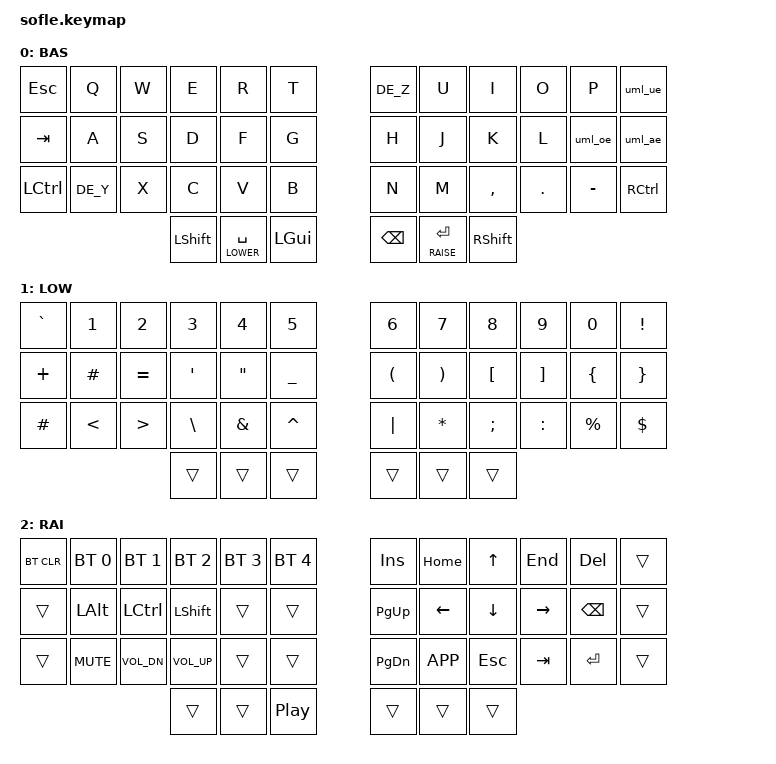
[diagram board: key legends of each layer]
/*
 * Copyright (c) 2020 The ZMK Contributors
 *
 * SPDX-License-Identifier: MIT
 */
/*
https://github.com/zmkfirmware/zmk/issues/72#issuecomment-2081690485
setup mouse scroll on encoders
*/

#define ZMK_MOUSE_SCRL_VAL 140
#define ZMK_POINTING_DEFAULT_SCRL_VAL 100

#include <behaviors.dtsi>
#include <dt-bindings/zmk/bt.h>
#include <dt-bindings/zmk/keys.h>
#include "keys_de_swiss.h"

#define BASE 0
#define LOWER 1
#define RAISE 2

/ {
     macros {
        // ö = Alt+0246, Ö = Alt+0214
        uml_o_lower: uml_o_lower {
            compatible = "zmk,behavior-macro";
            #binding-cells = <0>;
            tap-ms = <10>;
            wait-ms = <10>;
            bindings = <&macro_press &kp LALT>
                     , <&macro_tap &kp KP_N0 &kp KP_N2 &kp KP_N4 &kp KP_N6>
                     , <&macro_release &kp LALT>;
        };
        uml_o_upper: uml_o_upper {
            compatible = "zmk,behavior-macro";
            #binding-cells = <0>;
            tap-ms = <10>;
            wait-ms = <10>;
            bindings = <&macro_press &kp LALT>
                     , <&macro_tap &kp KP_N0 &kp KP_N2 &kp KP_N1 &kp KP_N4>
                     , <&macro_release &kp LALT>;
        };
        // ä = Alt+0228, Ä = Alt+0196
        uml_a_lower: uml_a_lower {
            compatible = "zmk,behavior-macro";
            #binding-cells = <0>;
            tap-ms = <10>;
            wait-ms = <10>;
            bindings = <&macro_press &kp LALT>
                     , <&macro_tap &kp KP_N0 &kp KP_N2 &kp KP_N2 &kp KP_N8>
                     , <&macro_release &kp LALT>;
        };
        uml_a_upper: uml_a_upper {
            compatible = "zmk,behavior-macro";
            #binding-cells = <0>;
            tap-ms = <10>;
            wait-ms = <10>;
            bindings = <&macro_press &kp LALT>
                     , <&macro_tap &kp KP_N0 &kp KP_N1 &kp KP_N9 &kp KP_N6>
                     , <&macro_release &kp LALT>;
        };
        // ü = Alt+0252, Ü = Alt+0220
        uml_u_lower: uml_u_lower {
            compatible = "zmk,behavior-macro";
            #binding-cells = <0>;
            tap-ms = <10>;
            wait-ms = <10>;
            bindings = <&macro_press &kp LALT>
                     , <&macro_tap &kp KP_N0 &kp KP_N2 &kp KP_N5 &kp KP_N2>
                     , <&macro_release &kp LALT>;
        };
        uml_u_upper: uml_u_upper {
            compatible = "zmk,behavior-macro";
            #binding-cells = <0>;
            tap-ms = <10>;
            wait-ms = <10>;
            bindings = <&macro_press &kp LALT>
                     , <&macro_tap &kp KP_N0 &kp KP_N2 &kp KP_N2 &kp KP_N0>
                     , <&macro_release &kp LALT>;
        };
    };

    behaviors {
        uml_oe: umlaut_oe {
            compatible = "zmk,behavior-mod-morph";
            #binding-cells = <0>;
            bindings = <&kp DE_O_UMLAUT>, <&kp DE_O_UMLAUT>;
            mods = <(MOD_LSFT|MOD_RSFT)>;
        };
        uml_ae: umlaut_ae {
            compatible = "zmk,behavior-mod-morph";
            #binding-cells = <0>;
            bindings = <&kp DE_A_UMLAUT>, <&kp DE_A_UMLAUT>;
            mods = <(MOD_LSFT|MOD_RSFT)>;
        };
        uml_ue: umlaut_ue {
            compatible = "zmk,behavior-mod-morph";
            #binding-cells = <0>;
            bindings = <&kp DE_U_UMLAUT>, <&kp DE_U_UMLAUT>;
            mods = <(MOD_LSFT|MOD_RSFT)>;
        };
    };
    
    keymap {
        compatible = "zmk,keymap";

        /*
         * BASE LAYER
         * ┌─────┬─────┬─────┬─────┬─────┬─────┐               ┌─────┬─────┬─────┬─────┬─────┬─────┐
         * │ ESC │  Q  │  W  │  E  │  R  │  T  │               │  Z  │  U  │  I  │  O  │  P  │  ü  │
         * ├─────┼─────┼─────┼─────┼─────┼─────┤               ├─────┼─────┼─────┼─────┼─────┼─────┤
         * │ TAB │  A  │  S  │  D  │  F  │  G  │               │  H  │  J  │  K  │  L  │  ö  │  ä  │
         * ├─────┼─────┼─────┼─────┼─────┼─────┤               ├─────┼─────┼─────┼─────┼─────┼─────┤
         * │CTRL │  Y  │  X  │  C  │  V  │  B  │               │  N  │  M  │  ,  │  .  │  -  │CTRL │
         * └─────┴─────┴─────┼─────┼─────┼─────┤               ├─────┼─────┼─────┼─────┴─────┴─────┘
         *                   │SHFT │L/SPC│ GUI │               │ BSPC│R/RET│SHFT │
         *                   └─────┴─────┴─────┘               └─────┴─────┴─────┘
         */
        default_layer {
            display-name = "BAS";
            bindings = <
&kp ESC    &kp Q  &kp W  &kp E      &kp R           &kp T                &kp DE_Z       &kp U          &kp I      &kp O    &kp P     &uml_ue
&kp TAB    &kp A  &kp S  &kp D      &kp F           &kp G                &kp H          &kp J          &kp K      &kp L    &uml_oe   &uml_ae
&kp LCTRL  &kp DE_Y &kp X &kp C      &kp V           &kp B                &kp N          &kp M          &kp COMMA  &kp DOT  &kp MINUS &kp RCTRL
                         &kp LSHFT  &lt LOWER SPACE  &kp LGUI            &kp BACKSPACE  &lt RAISE RET  &kp RSHFT
            >;
        };

        /*
         * LOWER LAYER (optimized for Python/C++ frequency)
         * ┌─────┬─────┬─────┬─────┬─────┬─────┐               ┌─────┬─────┬─────┬─────┬─────┬─────┐
         * │  `  │  1  │  2  │  3  │  4  │  5  │               │  6  │  7  │  8  │  9  │  0  │  !  │
         * ├─────┼─────┼─────┼─────┼─────┼─────┤               ├─────┼─────┼─────┼─────┼─────┼─────┤
         * │  +  │  #  │  =  │  '  │  "  │  _  │               │  (  │  )  │  [  │  ]  │  {  │  }  │
         * ├─────┼─────┼─────┼─────┼─────┼─────┤               ├─────┼─────┼─────┼─────┼─────┼─────┤
         * │  #  │  <  │  >  │  \  │  &  │  ^  │               │  |  │  *  │  ;  │  :  │  %  │  $  │
         * └─────┴─────┴─────┼─────┼─────┼─────┤               ├─────┼─────┼─────┼─────┴─────┴─────┘
         *                   │     │     │     │               │     │     │     │
         *                   └─────┴─────┴─────┘               └─────┴─────┴─────┘
         */
        lower_layer {
            display-name = "LOW";
            bindings = <
&kp GRAVE  &kp N1    &kp N2     &kp N3    &kp N4    &kp N5             &kp N6    &kp N7    &kp N8    &kp N9    &kp N0    &kp EXCL
&kp PLUS   &kp HASH  &kp EQUAL  &kp SQT   &kp DQT   &kp UNDER          &kp LPAR  &kp RPAR  &kp LBKT  &kp RBKT  &kp LBRC  &kp RBRC
&kp HASH   &kp LT    &kp GT     &kp BSLH  &kp AMPS  &kp CARET          &kp PIPE  &kp ASTRK &kp SEMI  &kp COLON &kp PRCNT &kp DLLR
                                &trans    &trans    &trans             &trans    &trans    &trans
            >;
        };

        /*
         * RAISE LAYER
         * ┌─────┬─────┬─────┬─────┬─────┬─────┐               ┌─────┬─────┬─────┬─────┬─────┬─────┐
         * │BTCLR│ BT0 │ BT1 │ BT2 │ BT3 │ BT4 │               │ INS │HOME │  ↑  │ END │ DEL │     │
         * ├─────┼─────┼─────┼─────┼─────┼─────┤               ├─────┼─────┼─────┼─────┼─────┼─────┤
         * │     │ ALT │CTRL │SHFT │     │     │               │PG_UP│  ←  │  ↓  │  →  │ BSPC│     │
         * ├─────┼─────┼─────┼─────┼─────┼─────┤               ├─────┼─────┼─────┼─────┼─────┼─────┤
         * │     │MUTE │VOL- │VOL+ │     │     │               │PG_DN│ APP │ ESC │ TAB │ENTER│     │
         * └─────┴─────┴─────┼─────┼─────┼─────┤               ├─────┼─────┼─────┼─────┴─────┴─────┘
         *                   │     │     │PLAY │               │     │     │     │
         *                   └─────┴─────┴─────┘               └─────┴─────┴─────┘
         */
        raise_layer {
            display-name = "RAI";
            bindings = <
&bt BT_CLR  &bt BT_SEL 0  &bt BT_SEL 1  &bt BT_SEL 2  &bt BT_SEL 3  &bt BT_SEL 4  &kp INS    &kp HOME   &kp UP    &kp END    &kp DEL    &trans
&trans      &kp LALT      &kp LCTRL     &kp LSHFT     &trans        &trans        &kp PG_UP  &kp LEFT   &kp DOWN  &kp RIGHT  &kp BSPC   &trans
&trans      &kp C_MUTE    &kp C_VOL_DN  &kp C_VOL_UP  &trans        &trans        &kp PG_DN  &kp K_APP  &kp ESC   &kp TAB    &kp ENTER  &trans
                                        &trans        &trans        &kp C_PP      &trans     &trans     &trans
            >;
        };

        extra1 { status = "reserved"; };

        extra2 { status = "reserved"; };

        extra3 { status = "reserved"; };

        extra4 { status = "reserved"; };
    };
};
